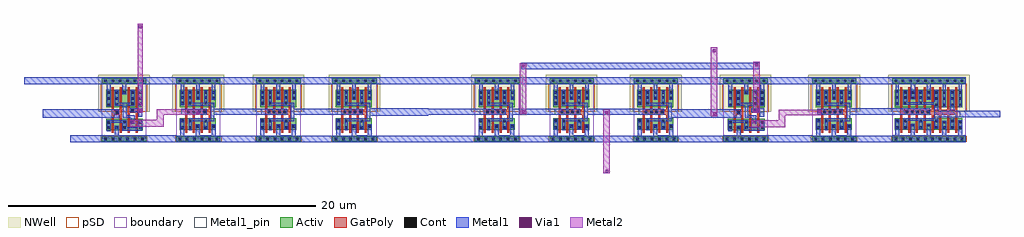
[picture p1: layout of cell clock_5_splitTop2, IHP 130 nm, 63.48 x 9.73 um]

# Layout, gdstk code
import gdstk
lib = gdstk.Library(unit=1e-6, precision=1e-09)
def R(c, l, rs):  # rectangles x0, y0, x1, y1
    for r in rs: c.add(gdstk.rectangle(r[:2], r[2:], *l))
def A(c, l, x, y, w, h, nx, ny, dx, dy):  # array of equal rectangles
    R(c, l, [(x+i*dx, y+j*dy, x+i*dx+w, y+j*dy+h) for i in range(nx) for j in range(ny)])
def P(c, l, *ps):  # polygons
    for p in ps: c.add(gdstk.Polygon(p, *l))
Activ = (1, 0)
GatPoly = (5, 0)
Cont = (6, 0)
Metal1 = (8, 0)
Metal1_pin = (8, 2)
Metal2 = (10, 0)
pSD = (14, 0)
Via1 = (19, 0)
NWell = (31, 0)
boundary = (189, 4)

clock_5_split4 = lib.new_cell('clock_5_split4')
R(clock_5_split4, Activ, [(-1.173,-1.011,1.707,-0.711), (3.666,-1.011,6.546,-0.711), (8.881,-1.011,11.761,-0.711), (13.817,-1.011,16.697,-0.711), (-0.888,-0.286,1.497,0.434), (3.911,-0.271,6.251,0.469), (9.126,-0.271,11.466,0.469), (14.062,-0.271,16.402,0.469), (-0.873,1.199,1.507,2.319), (3.911,1.199,6.251,2.319), (9.126,1.199,11.466,2.319), (14.062,1.199,16.402,2.319), (-1.173,2.769,1.707,3.069), (3.666,2.769,6.546,3.069), (8.881,2.769,11.761,3.069), (13.817,2.769,16.697,3.069)])
P(clock_5_split4, GatPoly, [(-0.513,-0.466),(-0.513,2.499),(-0.383,2.499),(-0.383,1.014),(-0.003,1.014),(-0.003,2.499),(0.127,2.499),(0.127,-0.466),(-0.003,-0.466),(-0.003,0.704),(-0.383,0.704),(-0.383,-0.466)],
  [(0.517,-0.466),(0.517,2.499),(0.647,2.499),(0.647,1.129),(1.027,1.129),(1.027,2.499),(1.157,2.499),(1.157,-0.466),(1.027,-0.466),(1.027,0.824),(0.647,0.824),(0.647,-0.466)],
  [(4.251,-0.451),(4.251,2.499),(4.381,2.499),(4.381,1.039),(4.761,1.039),(4.761,2.499),(4.891,2.499),(4.891,1.039),(5.271,1.039),(5.271,2.499),(5.401,2.499),(5.401,1.039),(5.781,1.039),(5.781,2.499),(5.911,2.499),(5.911,-0.451),(5.781,-0.451),(5.781,0.709),(5.401,0.709),(5.401,-0.451),(5.271,-0.451),(5.271,0.709),(4.891,0.709),(4.891,-0.451),(4.761,-0.451),(4.761,0.709),(4.381,0.709),(4.381,-0.451)],
  [(9.466,-0.451),(9.466,2.499),(9.596,2.499),(9.596,1.039),(9.976,1.039),(9.976,2.499),(10.106,2.499),(10.106,1.039),(10.486,1.039),(10.486,2.499),(10.616,2.499),(10.616,1.039),(10.996,1.039),(10.996,2.499),(11.126,2.499),(11.126,-0.451),(10.996,-0.451),(10.996,0.709),(10.616,0.709),(10.616,-0.451),(10.486,-0.451),(10.486,0.709),(10.106,0.709),(10.106,-0.451),(9.976,-0.451),(9.976,0.709),(9.596,0.709),(9.596,-0.451)],
  [(14.402,-0.451),(14.402,2.499),(14.532,2.499),(14.532,1.039),(14.912,1.039),(14.912,2.499),(15.042,2.499),(15.042,1.039),(15.422,1.039),(15.422,2.499),(15.552,2.499),(15.552,1.039),(15.932,1.039),(15.932,2.499),(16.062,2.499),(16.062,-0.451),(15.932,-0.451),(15.932,0.709),(15.552,0.709),(15.552,-0.451),(15.422,-0.451),(15.422,0.709),(15.042,0.709),(15.042,-0.451),(14.912,-0.451),(14.912,0.709),(14.532,0.709),(14.532,-0.451)])
A(clock_5_split4, Cont, 0.427, -0.941, 0.16, 0.16, 3, 2, 0.48, 3.78)
A(clock_5_split4, Cont, 4.401, 0.794, 0.16, 0.16, 4, 1, 0.34, 0)
A(clock_5_split4, Cont, 9.616, 0.794, 0.16, 0.16, 4, 1, 0.34, 0)
A(clock_5_split4, Cont, 14.552, 0.794, 0.16, 0.16, 4, 1, 0.34, 0)
A(clock_5_split4, Cont, -0.273, 1.289, 0.16, 0.16, 1, 3, 0, 0.4)
A(clock_5_split4, Cont, 3.981, 2.084, 0.16, 0.16, 5, 1, 0.51, 0)
A(clock_5_split4, Cont, 9.196, 2.084, 0.16, 0.16, 5, 1, 0.51, 0)
A(clock_5_split4, Cont, 14.132, 2.084, 0.16, 0.16, 5, 1, 0.51, 0)
R(clock_5_split4, Cont, [(-1.013,-0.941,-0.853,-0.781), (-1.013,-0.941,-0.853,-0.781), (-0.533,-0.941,-0.373,-0.781), (-0.533,-0.941,-0.373,-0.781), (-0.053,-0.941,0.107,-0.781), (-0.053,-0.941,0.107,-0.781), (0.427,-0.941,0.587,-0.781), (3.826,-0.941,3.986,-0.781), (3.826,-0.941,3.986,-0.781), (4.306,-0.941,4.466,-0.781), (4.306,-0.941,4.466,-0.781), (4.786,-0.941,4.946,-0.781), (4.786,-0.941,4.946,-0.781), (5.266,-0.941,5.426,-0.781), (5.266,-0.941,5.426,-0.781), (5.746,-0.941,5.906,-0.781), (5.746,-0.941,5.906,-0.781), (6.226,-0.941,6.386,-0.781), (6.226,-0.941,6.386,-0.781), (9.041,-0.941,9.201,-0.781), (9.041,-0.941,9.201,-0.781), (9.521,-0.941,9.681,-0.781), (9.521,-0.941,9.681,-0.781), (10.001,-0.941,10.161,-0.781), (10.001,-0.941,10.161,-0.781), (10.481,-0.941,10.641,-0.781), (10.481,-0.941,10.641,-0.781), (10.961,-0.941,11.121,-0.781), (10.961,-0.941,11.121,-0.781), (11.441,-0.941,11.601,-0.781), (11.441,-0.941,11.601,-0.781), (13.977,-0.941,14.137,-0.781), (13.977,-0.941,14.137,-0.781), (14.457,-0.941,14.617,-0.781), (14.457,-0.941,14.617,-0.781), (14.937,-0.941,15.097,-0.781), (14.937,-0.941,15.097,-0.781), (15.417,-0.941,15.577,-0.781), (15.417,-0.941,15.577,-0.781), (15.897,-0.941,16.057,-0.781), (15.897,-0.941,16.057,-0.781), (16.377,-0.941,16.537,-0.781), (16.377,-0.941,16.537,-0.781), (-0.273,-0.216,-0.113,-0.056), (-0.793,-0.211,-0.633,-0.051), (1.267,-0.211,1.427,-0.051), (0.237,-0.201,0.397,-0.041), (3.981,-0.196,4.141,-0.036), (4.491,-0.196,4.651,-0.036), (5.511,-0.196,5.671,-0.036), (9.196,-0.196,9.356,-0.036), (9.706,-0.196,9.866,-0.036), (10.726,-0.196,10.886,-0.036), (14.132,-0.196,14.292,-0.036), (14.642,-0.196,14.802,-0.036), (15.662,-0.196,15.822,-0.036), (5.001,-0.126,5.161,0.034), (6.021,-0.126,6.181,0.034), (10.216,-0.126,10.376,0.034), (11.236,-0.126,11.396,0.034), (15.152,-0.126,15.312,0.034), (16.172,-0.126,16.332,0.034), (-0.798,0.129,-0.638,0.289), (1.267,0.129,1.427,0.289), (0.237,0.144,0.397,0.304), (0.762,0.144,0.922,0.304), (0.757,0.189,0.917,0.349), (3.981,0.229,4.141,0.389), (4.491,0.229,4.651,0.389), (5.511,0.229,5.671,0.389), (9.196,0.229,9.356,0.389), (9.706,0.229,9.866,0.389), (10.726,0.229,10.886,0.389), (14.132,0.229,14.292,0.389), (14.642,0.229,14.802,0.389), (15.662,0.229,15.822,0.389), (-0.273,0.779,-0.113,0.939), (0.757,0.899,0.917,1.059), (-0.803,1.279,-0.643,1.439), (0.757,1.349,0.917,1.509), (1.267,1.349,1.427,1.509), (3.981,1.394,4.141,1.554), (4.491,1.394,4.651,1.554), (5.511,1.394,5.671,1.554), (9.196,1.394,9.356,1.554), (9.706,1.394,9.866,1.554), (10.726,1.394,10.886,1.554), (14.132,1.394,14.292,1.554), (14.642,1.394,14.802,1.554), (15.662,1.394,15.822,1.554), (-0.803,1.679,-0.643,1.839), (0.757,1.689,0.917,1.849), (1.267,1.689,1.427,1.849), (5.001,1.734,5.161,1.894), (6.021,1.734,6.181,1.894), (10.216,1.734,10.376,1.894), (11.236,1.734,11.396,1.894), (15.152,1.734,15.312,1.894), (16.172,1.734,16.332,1.894), (3.981,1.744,4.141,1.904), (4.491,1.744,4.651,1.904), (5.511,1.744,5.671,1.904), (9.196,1.744,9.356,1.904), (9.706,1.744,9.866,1.904), (10.726,1.744,10.886,1.904), (14.132,1.744,14.292,1.904), (14.642,1.744,14.802,1.904), (15.662,1.744,15.822,1.904), (-0.803,2.089,-0.643,2.249), (0.237,2.089,0.397,2.249), (0.757,2.089,0.917,2.249), (1.267,2.089,1.427,2.249), (-1.013,2.839,-0.853,2.999), (-1.013,2.839,-0.853,2.999), (-0.533,2.839,-0.373,2.999), (-0.533,2.839,-0.373,2.999), (-0.053,2.839,0.107,2.999), (-0.053,2.839,0.107,2.999), (0.427,2.839,0.587,2.999), (3.826,2.839,3.986,2.999), (3.826,2.839,3.986,2.999), (4.306,2.839,4.466,2.999), (4.306,2.839,4.466,2.999), (4.786,2.839,4.946,2.999), (4.786,2.839,4.946,2.999), (5.266,2.839,5.426,2.999), (5.266,2.839,5.426,2.999), (5.746,2.839,5.906,2.999), (5.746,2.839,5.906,2.999), (6.226,2.839,6.386,2.999), (6.226,2.839,6.386,2.999), (9.041,2.839,9.201,2.999), (9.041,2.839,9.201,2.999), (9.521,2.839,9.681,2.999), (9.521,2.839,9.681,2.999), (10.001,2.839,10.161,2.999), (10.001,2.839,10.161,2.999), (10.481,2.839,10.641,2.999), (10.481,2.839,10.641,2.999), (10.961,2.839,11.121,2.999), (10.961,2.839,11.121,2.999), (11.441,2.839,11.601,2.999), (11.441,2.839,11.601,2.999), (13.977,2.839,14.137,2.999), (13.977,2.839,14.137,2.999), (14.457,2.839,14.617,2.999), (14.457,2.839,14.617,2.999), (14.937,2.839,15.097,2.999), (14.937,2.839,15.097,2.999), (15.417,2.839,15.577,2.999), (15.417,2.839,15.577,2.999), (15.897,2.839,16.057,2.999), (15.897,2.839,16.057,2.999), (16.377,2.839,16.537,2.999), (16.377,2.839,16.537,2.999)])
R(clock_5_split4, Metal1_pin, [(-1.173,-1.081,1.707,-0.641), (3.666,-1.071,6.546,-0.651), (8.881,-1.071,11.761,-0.651), (13.817,-1.071,16.697,-0.651), (5.911,0.284,6.141,1.479), (11.126,0.284,11.356,1.479), (16.062,0.284,16.292,1.479), (-0.353,0.529,-0.023,1.059), (0.207,0.529,0.447,1.499), (3.991,0.709,5.666,1.089), (9.206,0.709,10.881,1.089), (14.142,0.709,15.817,1.089), (0.642,0.869,1.472,1.119), (-1.173,2.699,1.707,3.139), (3.666,2.699,6.546,3.139), (8.881,2.699,11.761,3.139), (13.817,2.699,16.697,3.139)])
R(clock_5_split4, Metal2, [(1.17,0.837,1.495,6.631)])
P(clock_5_split4, Metal2, [(0.64,-0.071),(0.64,0.38),(2.413,0.38),(2.413,1.065),(5.196,1.065),(5.196,0.693),(2.844,0.693),(2.844,-0.071)])
R(clock_5_split4, pSD, [(-1.243,-1.041,1.777,-0.681), (3.596,-1.041,6.616,-0.681), (8.811,-1.041,11.831,-0.681), (13.747,-1.041,16.767,-0.681), (-1.243,0.899,1.777,2.739), (3.596,0.899,6.616,2.739), (8.811,0.899,11.831,2.739), (13.747,0.899,16.767,2.739)])
R(clock_5_split4, Via1, [(0.746,0.163,0.936,0.353), (4.975,0.753,5.165,0.943), (1.241,0.895,1.431,1.085), (1.241,6.344,1.431,6.534)])
R(clock_5_split4, NWell, [(-1.413,0.889,1.947,3.309), (3.426,0.889,6.786,3.309), (8.641,0.889,12.001,3.309), (13.577,0.889,16.937,3.309)])
R(clock_5_split4, boundary, [(-1.173,-0.861,1.707,2.919), (3.666,-0.861,6.546,2.919), (8.881,-0.861,11.761,2.919), (13.817,-0.861,16.697,2.919)])
clock_5_split4.add(gdstk.Label('Y', (0.307,1.244), layer=8, texttype=25))
clock_5_split4.add(gdstk.Label('VDD', (-0.203,2.919), layer=8, texttype=25))
clock_5_split4.add(gdstk.Label('A', (0.837,0.979), layer=8, texttype=25))
clock_5_split4.add(gdstk.Label('VSS', (-0.663,-0.861), layer=8, texttype=25))
clock_5_split4.add(gdstk.Label('B', (-0.193,0.794), layer=8, texttype=25))
clock_5_split4.add(gdstk.Label('A', (4.786,0.899), layer=8, texttype=25))
clock_5_split4.add(gdstk.Label('VDD', (5.591,2.939), layer=8, texttype=25))
clock_5_split4.add(gdstk.Label('Y', (6.026,0.894), layer=8, texttype=25))
clock_5_split4.add(gdstk.Label('VSS', (5.071,-0.856), layer=8, texttype=25))
clock_5_split4.add(gdstk.Label('A', (10.001,0.899), layer=8, texttype=25))
clock_5_split4.add(gdstk.Label('VDD', (10.806,2.939), layer=8, texttype=25))
clock_5_split4.add(gdstk.Label('Y', (11.241,0.894), layer=8, texttype=25))
clock_5_split4.add(gdstk.Label('VSS', (10.286,-0.856), layer=8, texttype=25))
clock_5_split4.add(gdstk.Label('A', (14.937,0.899), layer=8, texttype=25))
clock_5_split4.add(gdstk.Label('VDD', (15.742,2.939), layer=8, texttype=25))
clock_5_split4.add(gdstk.Label('Y', (16.177,0.894), layer=8, texttype=25))
clock_5_split4.add(gdstk.Label('VSS', (15.222,-0.856), layer=8, texttype=25))
clock_5_split4.add(gdstk.Label('inv_bottom', (18.185,0.83), layer=8, texttype=1))
clock_5_split4.add(gdstk.Label('nand_B2', (-3.331,0.714), layer=8, texttype=1))
clock_5_split4.add(gdstk.Label('nand_A2', (1.301,3.793), layer=10, texttype=1))

clock_5_split2 = lib.new_cell('clock_5_split2')
R(clock_5_split2, Activ, [(0,-0.15,2.88,0.15), (4.857,-0.15,7.737,0.15), (10.326,-0.15,13.206,0.15), (16.171,-0.15,19.051,0.15), (21.93,-0.15,24.81,0.15), (27.136,-0.15,31.936,0.15), (16.456,0.575,18.841,1.295), (0.245,0.59,2.585,1.33), (5.102,0.59,7.442,1.33), (10.571,0.59,12.911,1.33), (22.175,0.59,24.515,1.33), (27.321,0.59,31.711,1.33), (0.245,2.06,2.585,3.18), (5.102,2.06,7.442,3.18), (10.571,2.06,12.911,3.18), (16.471,2.06,18.851,3.18), (22.175,2.06,24.515,3.18), (27.321,2.06,31.711,3.18), (0,3.63,2.88,3.93), (4.857,3.63,7.737,3.93), (10.326,3.63,13.206,3.93), (16.171,3.63,19.051,3.93), (21.93,3.63,24.81,3.93), (27.136,3.63,31.936,3.93)])
P(clock_5_split2, GatPoly, [(27.661,0.41),(27.661,3.36),(27.791,3.36),(27.791,1.9),(28.171,1.9),(28.171,3.36),(28.301,3.36),(28.301,1.9),(28.681,1.9),(28.681,3.36),(28.811,3.36),(28.811,1.9),(29.191,1.9),(29.191,3.36),(29.321,3.36),(29.321,1.9),(29.701,1.9),(29.701,3.36),(29.831,3.36),(29.831,1.9),(30.211,1.9),(30.211,3.36),(30.341,3.36),(30.341,1.9),(30.721,1.9),(30.721,3.36),(30.851,3.36),(30.851,1.9),(31.241,1.9),(31.241,3.36),(31.371,3.36),(31.371,0.41),(31.241,0.41),(31.241,1.57),(30.851,1.57),(30.851,0.41),(30.721,0.41),(30.721,1.57),(30.341,1.57),(30.341,0.41),(30.211,0.41),(30.211,1.57),(29.831,1.57),(29.831,0.41),(29.701,0.41),(29.701,1.57),(29.321,1.57),(29.321,0.41),(29.191,0.41),(29.191,1.57),(28.811,1.57),(28.811,0.41),(28.681,0.41),(28.681,1.57),(28.301,1.57),(28.301,0.41),(28.171,0.41),(28.171,1.57),(27.791,1.57),(27.791,0.41)],
  [(17.861,0.395),(17.861,3.36),(17.991,3.36),(17.991,1.99),(18.371,1.99),(18.371,3.36),(18.501,3.36),(18.501,0.395),(18.371,0.395),(18.371,1.685),(17.991,1.685),(17.991,0.395)],
  [(16.831,0.395),(16.831,3.36),(16.961,3.36),(16.961,1.875),(17.341,1.875),(17.341,3.36),(17.471,3.36),(17.471,0.395),(17.341,0.395),(17.341,1.565),(16.961,1.565),(16.961,0.395)],
  [(0.585,0.41),(0.585,3.36),(0.715,3.36),(0.715,1.9),(1.095,1.9),(1.095,3.36),(1.225,3.36),(1.225,1.9),(1.605,1.9),(1.605,3.36),(1.735,3.36),(1.735,1.9),(2.115,1.9),(2.115,3.36),(2.245,3.36),(2.245,0.41),(2.115,0.41),(2.115,1.57),(1.735,1.57),(1.735,0.41),(1.605,0.41),(1.605,1.57),(1.225,1.57),(1.225,0.41),(1.095,0.41),(1.095,1.57),(0.715,1.57),(0.715,0.41)],
  [(5.442,0.41),(5.442,3.36),(5.572,3.36),(5.572,1.9),(5.952,1.9),(5.952,3.36),(6.082,3.36),(6.082,1.9),(6.462,1.9),(6.462,3.36),(6.592,3.36),(6.592,1.9),(6.972,1.9),(6.972,3.36),(7.102,3.36),(7.102,0.41),(6.972,0.41),(6.972,1.57),(6.592,1.57),(6.592,0.41),(6.462,0.41),(6.462,1.57),(6.082,1.57),(6.082,0.41),(5.952,0.41),(5.952,1.57),(5.572,1.57),(5.572,0.41)],
  [(10.911,0.41),(10.911,3.36),(11.041,3.36),(11.041,1.9),(11.421,1.9),(11.421,3.36),(11.551,3.36),(11.551,1.9),(11.931,1.9),(11.931,3.36),(12.061,3.36),(12.061,1.9),(12.441,1.9),(12.441,3.36),(12.571,3.36),(12.571,0.41),(12.441,0.41),(12.441,1.57),(12.061,1.57),(12.061,0.41),(11.931,0.41),(11.931,1.57),(11.551,1.57),(11.551,0.41),(11.421,0.41),(11.421,1.57),(11.041,1.57),(11.041,0.41)],
  [(22.515,0.41),(22.515,3.36),(22.645,3.36),(22.645,1.9),(23.025,1.9),(23.025,3.36),(23.155,3.36),(23.155,1.9),(23.535,1.9),(23.535,3.36),(23.665,3.36),(23.665,1.9),(24.045,1.9),(24.045,3.36),(24.175,3.36),(24.175,0.41),(24.045,0.41),(24.045,1.57),(23.665,1.57),(23.665,0.41),(23.535,0.41),(23.535,1.57),(23.155,1.57),(23.155,0.41),(23.025,0.41),(23.025,1.57),(22.645,1.57),(22.645,0.41)])
A(clock_5_split2, Cont, 0.16, -0.08, 0.16, 0.16, 6, 2, 0.48, 3.78)
A(clock_5_split2, Cont, 5.017, -0.08, 0.16, 0.16, 6, 2, 0.48, 3.78)
A(clock_5_split2, Cont, 10.486, -0.08, 0.16, 0.16, 6, 2, 0.48, 3.78)
A(clock_5_split2, Cont, 16.331, -0.08, 0.16, 0.16, 6, 2, 0.48, 3.78)
A(clock_5_split2, Cont, 22.09, -0.08, 0.16, 0.16, 6, 2, 0.48, 3.78)
A(clock_5_split2, Cont, 27.296, -0.08, 0.16, 0.16, 10, 2, 0.48, 3.78)
A(clock_5_split2, Cont, 27.901, 1.08, 0.16, 0.16, 4, 1, 1.02, 0)
A(clock_5_split2, Cont, 0.735, 1.655, 0.16, 0.16, 4, 1, 0.34, 0)
A(clock_5_split2, Cont, 5.592, 1.655, 0.16, 0.16, 4, 1, 0.34, 0)
A(clock_5_split2, Cont, 11.061, 1.655, 0.16, 0.16, 4, 1, 0.34, 0)
A(clock_5_split2, Cont, 22.665, 1.655, 0.16, 0.16, 4, 1, 0.34, 0)
A(clock_5_split2, Cont, 28.026, 1.655, 0.16, 0.16, 5, 1, 0.34, 0)
A(clock_5_split2, Cont, 29.941, 2.14, 0.16, 0.16, 3, 2, 0.51, 0.4)
A(clock_5_split2, Cont, 17.071, 2.15, 0.16, 0.16, 1, 3, 0, 0.4)
A(clock_5_split2, Cont, 0.315, 2.945, 0.16, 0.16, 5, 1, 0.51, 0)
A(clock_5_split2, Cont, 5.172, 2.945, 0.16, 0.16, 5, 1, 0.51, 0)
A(clock_5_split2, Cont, 10.641, 2.945, 0.16, 0.16, 5, 1, 0.51, 0)
A(clock_5_split2, Cont, 22.245, 2.945, 0.16, 0.16, 5, 1, 0.51, 0)
A(clock_5_split2, Cont, 27.901, 2.945, 0.16, 0.16, 7, 1, 0.51, 0)
R(clock_5_split2, Cont, [(17.071,0.645,17.231,0.805), (16.551,0.65,16.711,0.81), (18.611,0.65,18.771,0.81), (17.581,0.66,17.741,0.82), (0.315,0.665,0.475,0.825), (0.825,0.665,0.985,0.825), (1.845,0.665,2.005,0.825), (5.172,0.665,5.332,0.825), (5.682,0.665,5.842,0.825), (6.702,0.665,6.862,0.825), (10.641,0.665,10.801,0.825), (11.151,0.665,11.311,0.825), (12.171,0.665,12.331,0.825), (22.245,0.665,22.405,0.825), (22.755,0.665,22.915,0.825), (23.775,0.665,23.935,0.825), (30.451,0.665,30.611,0.825), (27.391,0.67,27.551,0.83), (27.901,0.67,28.061,0.83), (28.921,0.67,29.081,0.83), (30.961,0.67,31.121,0.83), (31.481,0.67,31.641,0.83), (29.941,0.675,30.101,0.835), (1.335,0.735,1.495,0.895), (2.355,0.735,2.515,0.895), (6.192,0.735,6.352,0.895), (7.212,0.735,7.372,0.895), (11.661,0.735,11.821,0.895), (12.681,0.735,12.841,0.895), (23.265,0.735,23.425,0.895), (24.285,0.735,24.445,0.895), (28.411,0.815,28.571,0.975), (29.431,0.815,29.591,0.975), (16.546,0.99,16.706,1.15), (18.611,0.99,18.771,1.15), (17.581,1.005,17.741,1.165), (30.451,1.015,30.611,1.175), (31.481,1.025,31.641,1.185), (18.101,1.05,18.261,1.21), (27.391,1.08,27.551,1.24), (0.315,1.09,0.475,1.25), (0.825,1.09,0.985,1.25), (1.845,1.09,2.005,1.25), (5.172,1.09,5.332,1.25), (5.682,1.09,5.842,1.25), (6.702,1.09,6.862,1.25), (10.641,1.09,10.801,1.25), (11.151,1.09,11.311,1.25), (12.171,1.09,12.331,1.25), (22.245,1.09,22.405,1.25), (22.755,1.09,22.915,1.25), (23.775,1.09,23.935,1.25), (17.071,1.64,17.231,1.8), (18.101,1.76,18.261,1.92), (16.541,2.14,16.701,2.3), (31.481,2.14,31.641,2.3), (27.391,2.207,27.551,2.367), (18.101,2.21,18.261,2.37), (18.611,2.21,18.771,2.37), (0.315,2.255,0.475,2.415), (0.825,2.255,0.985,2.415), (1.845,2.255,2.005,2.415), (5.172,2.255,5.332,2.415), (5.682,2.255,5.842,2.415), (6.702,2.255,6.862,2.415), (10.641,2.255,10.801,2.415), (11.151,2.255,11.311,2.415), (12.171,2.255,12.331,2.415), (22.245,2.255,22.405,2.415), (22.755,2.255,22.915,2.415), (23.775,2.255,23.935,2.415), (27.901,2.255,28.061,2.415), (28.921,2.255,29.081,2.415), (16.541,2.54,16.701,2.7), (31.481,2.54,31.641,2.7), (18.101,2.55,18.261,2.71), (18.611,2.55,18.771,2.71), (1.335,2.595,1.495,2.755), (2.355,2.595,2.515,2.755), (6.192,2.595,6.352,2.755), (7.212,2.595,7.372,2.755), (11.661,2.595,11.821,2.755), (12.681,2.595,12.841,2.755), (23.265,2.595,23.425,2.755), (24.285,2.595,24.445,2.755), (28.411,2.595,28.571,2.755), (29.431,2.595,29.591,2.755), (0.315,2.605,0.475,2.765), (0.825,2.605,0.985,2.765), (1.845,2.605,2.005,2.765), (5.172,2.605,5.332,2.765), (5.682,2.605,5.842,2.765), (6.702,2.605,6.862,2.765), (10.641,2.605,10.801,2.765), (11.151,2.605,11.311,2.765), (12.171,2.605,12.331,2.765), (22.245,2.605,22.405,2.765), (22.755,2.605,22.915,2.765), (23.775,2.605,23.935,2.765), (27.901,2.605,28.061,2.765), (28.921,2.605,29.081,2.765), (27.391,2.607,27.551,2.767), (31.481,2.945,31.641,3.105), (16.541,2.95,16.701,3.11), (17.581,2.95,17.741,3.11), (18.101,2.95,18.261,3.11), (18.611,2.95,18.771,3.11), (27.391,3.012,27.551,3.172)])
R(clock_5_split2, Metal1_pin, [(16.171,-0.22,19.051,0.22), (27.136,-0.22,31.936,0.22), (0,-0.21,2.88,0.21), (4.857,-0.21,7.737,0.21), (10.326,-0.21,13.206,0.21), (21.93,-0.21,24.81,0.21), (2.245,1.145,2.475,2.34), (7.102,1.145,7.332,2.34), (12.571,1.145,12.801,2.34), (24.175,1.145,24.405,2.34), (16.991,1.39,17.321,1.92), (17.551,1.39,17.791,2.36), (29.876,1.42,31.576,1.84), (0.325,1.57,2,1.95), (5.182,1.57,6.857,1.95), (10.651,1.57,12.326,1.95), (22.255,1.57,23.93,1.95), (27.941,1.57,29.631,2), (17.986,1.73,18.816,1.98), (0,3.56,2.88,4), (4.857,3.56,7.737,4), (10.326,3.56,13.206,4), (16.171,3.56,19.051,4), (21.93,3.56,24.81,4), (27.136,3.56,31.936,4)])
R(clock_5_split2, Metal2, [(8.347,-2.24,8.767,1.922), (15.357,1.474,15.777,5.968), (2.917,1.615,3.337,4.915), (18.11,1.702,18.53,5.002)])
P(clock_5_split2, Metal2, [(17.979,0.772),(17.979,1.223),(19.752,1.223),(19.752,1.908),(22.535,1.908),(22.535,1.536),(20.183,1.536),(20.183,0.772)])
R(clock_5_split2, pSD, [(-0.07,-0.18,2.95,0.18), (4.787,-0.18,7.807,0.18), (10.256,-0.18,13.276,0.18), (16.101,-0.18,19.121,0.18), (21.86,-0.18,24.88,0.18), (27.066,-0.18,32.006,0.18), (-0.07,1.76,2.95,3.6), (4.787,1.76,7.807,3.6), (10.256,1.76,13.276,3.6), (16.101,1.76,19.121,3.6), (21.86,1.76,24.88,3.6), (27.066,1.76,32.006,3.6)])
R(clock_5_split2, Via1, [(8.501,-2.187,8.691,-1.997), (18.091,1.004,18.281,1.194), (15.511,1.527,15.701,1.717), (8.472,1.613,8.662,1.803), (22.314,1.659,22.504,1.849), (3.049,1.668,3.239,1.858), (18.242,1.755,18.432,1.945), (3.049,4.645,3.239,4.835), (18.242,4.732,18.432,4.922), (15.47,5.634,15.66,5.824)])
R(clock_5_split2, NWell, [(-0.24,1.75,3.12,4.17), (4.617,1.75,7.977,4.17), (10.086,1.75,13.446,4.17), (15.931,1.75,19.291,4.17), (21.69,1.75,25.05,4.17), (26.896,1.75,32.176,4.17)])
R(clock_5_split2, boundary, [(0,0,2.88,3.78), (4.857,0,7.737,3.78), (10.326,0,13.206,3.78), (16.171,0,19.051,3.78), (21.93,0,24.81,3.78), (27.136,0,31.936,3.78)])
clock_5_split2.add(gdstk.Label('VSS', (29.446,-0.02), layer=8, texttype=25))
clock_5_split2.add(gdstk.Label('VSS', (16.681,0), layer=8, texttype=25))
clock_5_split2.add(gdstk.Label('VSS', (1.405,0.005), layer=8, texttype=25))
clock_5_split2.add(gdstk.Label('VSS', (6.262,0.005), layer=8, texttype=25))
clock_5_split2.add(gdstk.Label('VSS', (11.731,0.005), layer=8, texttype=25))
clock_5_split2.add(gdstk.Label('VSS', (23.335,0.005), layer=8, texttype=25))
clock_5_split2.add(gdstk.Label('B', (17.151,1.655), layer=8, texttype=25))
clock_5_split2.add(gdstk.Label('Y', (30.786,1.64), layer=8, texttype=25))
clock_5_split2.add(gdstk.Label('Y', (2.36,1.755), layer=8, texttype=25))
clock_5_split2.add(gdstk.Label('Y', (7.217,1.755), layer=8, texttype=25))
clock_5_split2.add(gdstk.Label('Y', (12.686,1.755), layer=8, texttype=25))
clock_5_split2.add(gdstk.Label('Y', (24.29,1.755), layer=8, texttype=25))
clock_5_split2.add(gdstk.Label('Y', (17.651,2.105), layer=8, texttype=25))
clock_5_split2.add(gdstk.Label('VDD', (17.141,3.78), layer=8, texttype=25))
clock_5_split2.add(gdstk.Label('VDD', (29.846,3.78), layer=8, texttype=25))
clock_5_split2.add(gdstk.Label('VDD', (1.925,3.8), layer=8, texttype=25))
clock_5_split2.add(gdstk.Label('VDD', (6.782,3.8), layer=8, texttype=25))
clock_5_split2.add(gdstk.Label('VDD', (12.251,3.8), layer=8, texttype=25))
clock_5_split2.add(gdstk.Label('VDD', (23.855,3.8), layer=8, texttype=25))
clock_5_split2.add(gdstk.Label('A', (1.12,1.76), layer=8, texttype=25))
clock_5_split2.add(gdstk.Label('A', (5.977,1.76), layer=8, texttype=25))
clock_5_split2.add(gdstk.Label('A', (11.446,1.76), layer=8, texttype=25))
clock_5_split2.add(gdstk.Label('A', (23.05,1.76), layer=8, texttype=25))
clock_5_split2.add(gdstk.Label('A', (28.781,1.785), layer=8, texttype=25))
clock_5_split2.add(gdstk.Label('A', (18.181,1.84), layer=8, texttype=25))
clock_5_split2.add(gdstk.Label('inv_bottom', (-2.829,1.777), layer=8, texttype=1))
clock_5_split2.add(gdstk.Label('p2', (33.832,1.605), layer=8, texttype=1))
clock_5_split2.add(gdstk.Label('nand_B1', (15.449,5.317), layer=10, texttype=1))
clock_5_split2.add(gdstk.Label('p2e', (8.612,-1.9), layer=10, texttype=1))

clock_5_splittop2 = lib.new_cell('clock_5_splitTop2')
R(clock_5_splittop2, Metal1, [(-5.497,-0.093,-0.511,0.437), (3.503,0.087,5.178,0.467), (44.859,0.087,46.534,0.467), (25.609,3.059,41.147,3.472)])
P(clock_5_splittop2, Metal1, [(-1.336,-0.983),(-1.336,-0.283),(-0.041,-0.283),(-0.041,-0.723),(0.709,-0.723),(0.709,-0.283),(0.989,-0.283),(0.989,-0.953),(-0.311,-0.953),(-0.311,-0.448),(-1.076,-0.448),(-1.076,-0.983)],
  [(39.1,-0.983),(39.1,-0.283),(40.395,-0.283),(40.395,-0.723),(41.145,-0.723),(41.145,-0.283),(41.425,-0.283),(41.425,-0.953),(40.125,-0.953),(40.125,-0.448),(39.36,-0.448),(39.36,-0.983)],
  [(-3.71,-1.703),(-3.71,-1.263),(-0.811,-1.263),(-0.811,-0.628),(-0.551,-0.628),(-0.551,-1.263),(3.221,-1.263),(3.221,-1.273),(3.448,-1.273),(3.448,-0.158),(3.698,-0.158),(3.698,-1.273),(4.458,-1.273),(4.458,-0.538),(4.728,-0.538),(4.728,-1.263),(5.483,-1.263),(5.483,-0.533),(5.743,-0.533),(5.743,-1.273),(8.663,-1.273),(8.663,-0.158),(8.913,-0.158),(8.913,-1.273),(9.673,-1.273),(9.673,-0.538),(9.943,-0.538),(9.943,-1.263),(10.698,-1.263),(10.698,-0.533),(10.958,-0.533),(10.958,-1.273),(13.599,-1.273),(13.599,-0.158),(13.849,-0.158),(13.849,-1.273),(14.609,-1.273),(14.609,-0.538),(14.879,-0.538),(14.879,-1.263),(15.634,-1.263),(15.634,-0.533),(15.894,-0.533),(15.894,-1.273),(22.874,-1.273),(22.874,-0.158),(23.124,-0.158),(23.124,-1.273),(23.884,-1.273),(23.884,-0.538),(24.154,-0.538),(24.154,-1.263),(24.909,-1.263),(24.909,-0.533),(25.169,-0.533),(25.169,-1.273),(27.731,-1.273),(27.731,-0.158),(27.981,-0.158),(27.981,-1.273),(28.741,-1.273),(28.741,-0.538),(29.011,-0.538),(29.011,-1.263),(29.766,-1.263),(29.766,-0.533),(30.026,-0.533),(30.026,-1.273),(33.2,-1.273),(33.2,-0.158),(33.45,-0.158),(33.45,-1.273),(34.21,-1.273),(34.21,-0.538),(34.48,-0.538),(34.48,-1.263),(35.235,-1.263),(35.235,-0.533),(35.495,-0.533),(35.495,-1.273),(38.775,-1.273),(38.775,-1.263),(39.625,-1.263),(39.625,-0.628),(39.885,-0.628),(39.885,-1.263),(44.575,-1.263),(44.575,-1.273),(44.804,-1.273),(44.804,-0.158),(45.054,-0.158),(45.054,-1.273),(45.814,-1.273),(45.814,-0.538),(46.084,-0.538),(46.084,-1.263),(46.839,-1.263),(46.839,-0.533),(47.099,-0.533),(47.099,-1.273),(49.74,-1.273),(49.74,-1.263),(49.945,-1.263),(49.945,-0.213),(50.205,-0.213),(50.205,-1.263),(50.965,-1.263),(50.965,-0.483),(51.225,-0.483),(51.225,-1.263),(51.985,-1.263),(51.985,-0.493),(52.245,-0.493),(52.245,-1.263),(53.005,-1.263),(53.005,-0.288),(53.265,-0.288),(53.265,-1.263),(54.035,-1.263),(54.035,-0.258),(54.295,-0.258),(54.295,-1.263),(54.54,-1.263),(54.54,-1.703),(49.74,-1.703),(49.74,-1.693),(44.575,-1.693),(44.575,-1.703),(38.775,-1.703),(38.775,-1.693),(3.221,-1.693),(3.221,-1.703)],
  [(0.709,-0.043),(0.709,0.247),(0.154,0.247),(0.154,0.497),(0.984,0.497),(0.984,-0.043)],
  [(41.145,-0.043),(41.145,0.247),(40.59,0.247),(40.59,0.497),(41.42,0.497),(41.42,-0.043)],
  [(0.219,-0.483),(0.219,-0.093),(-0.281,-0.093),(-0.281,0.657),(-0.821,0.657),(-0.821,1.697),(-0.561,1.697),(-0.561,0.877),(0.229,0.877),(0.229,1.697),(0.489,1.697),(0.489,0.677),(-0.041,0.677),(-0.041,0.067),(0.479,0.067),(0.479,-0.483)],
  [(3.993,-0.913),(3.993,-0.143),(5.423,-0.143),(5.423,0.687),(3.978,0.687),(3.978,1.697),(4.193,1.697),(4.193,0.857),(4.993,0.857),(4.993,1.692),(5.208,1.692),(5.208,0.857),(5.653,0.857),(5.653,0.467),(10.393,0.467),(10.393,0.087),(5.653,0.087),(5.653,-0.338),(5.238,-0.338),(5.238,-0.888),(4.983,-0.888),(4.983,-0.338),(4.188,-0.338),(4.188,-0.913)],
  [(9.208,-0.913),(9.208,-0.143),(10.638,-0.143),(10.638,0.687),(9.193,0.687),(9.193,1.697),(9.408,1.697),(9.408,0.857),(10.208,0.857),(10.208,1.692),(10.423,1.692),(10.423,0.857),(10.868,0.857),(10.868,0.467),(15.329,0.467),(15.329,0.087),(10.868,0.087),(10.868,-0.338),(10.453,-0.338),(10.453,-0.888),(10.198,-0.888),(10.198,-0.338),(9.403,-0.338),(9.403,-0.913)],
  [(14.144,-0.913),(14.144,-0.143),(15.574,-0.143),(15.574,0.687),(14.129,0.687),(14.129,1.697),(14.344,1.697),(14.344,0.857),(15.144,0.857),(15.144,1.692),(15.359,1.692),(15.359,0.857),(15.804,0.857),(15.804,0.508),(19.585,0.508),(19.585,0.467),(24.604,0.467),(24.604,0.087),(19.585,0.087),(19.585,0.022),(15.804,0.022),(15.804,-0.338),(15.389,-0.338),(15.389,-0.888),(15.134,-0.888),(15.134,-0.338),(14.339,-0.338),(14.339,-0.913)],
  [(23.419,-0.913),(23.419,-0.143),(24.849,-0.143),(24.849,0.687),(23.404,0.687),(23.404,1.697),(23.619,1.697),(23.619,0.857),(24.419,0.857),(24.419,1.692),(24.634,1.692),(24.634,0.857),(25.079,0.857),(25.079,0.467),(29.461,0.467),(29.461,0.087),(25.079,0.087),(25.079,-0.338),(24.664,-0.338),(24.664,-0.888),(24.409,-0.888),(24.409,-0.338),(23.614,-0.338),(23.614,-0.913)],
  [(28.276,-0.913),(28.276,-0.143),(29.706,-0.143),(29.706,0.687),(28.261,0.687),(28.261,1.697),(28.476,1.697),(28.476,0.857),(29.276,0.857),(29.276,1.692),(29.491,1.692),(29.491,0.857),(29.936,0.857),(29.936,0.467),(34.93,0.467),(34.93,0.087),(29.936,0.087),(29.936,-0.338),(29.521,-0.338),(29.521,-0.888),(29.266,-0.888),(29.266,-0.338),(28.471,-0.338),(28.471,-0.913)],
  [(33.745,-0.913),(33.745,-0.143),(35.175,-0.143),(35.175,0.687),(33.73,0.687),(33.73,1.697),(33.945,1.697),(33.945,0.857),(34.745,0.857),(34.745,1.692),(34.96,1.692),(34.96,0.857),(35.405,0.857),(35.405,0.437),(39.925,0.437),(39.925,-0.093),(35.405,-0.093),(35.405,-0.338),(34.99,-0.338),(34.99,-0.888),(34.735,-0.888),(34.735,-0.338),(33.94,-0.338),(33.94,-0.913)],
  [(40.655,-0.483),(40.655,-0.093),(40.155,-0.093),(40.155,0.657),(39.615,0.657),(39.615,1.697),(39.875,1.697),(39.875,0.877),(40.665,0.877),(40.665,1.697),(40.925,1.697),(40.925,0.677),(40.395,0.677),(40.395,0.067),(40.915,0.067),(40.915,-0.483)],
  [(45.349,-0.913),(45.349,-0.143),(46.779,-0.143),(46.779,0.687),(45.334,0.687),(45.334,1.697),(45.549,1.697),(45.549,0.857),(46.349,0.857),(46.349,1.692),(46.564,1.692),(46.564,0.857),(47.009,0.857),(47.009,0.517),(52.235,0.517),(52.235,0.087),(47.009,0.087),(47.009,-0.338),(46.594,-0.338),(46.594,-0.888),(46.339,-0.888),(46.339,-0.338),(45.544,-0.338),(45.544,-0.913)],
  [(50.455,-0.863),(50.455,-0.138),(52.48,-0.138),(52.48,0.737),(50.455,0.737),(50.455,1.677),(50.72,1.677),(50.72,0.902),(51.47,0.902),(51.47,1.672),(51.735,1.672),(51.735,0.897),(52.48,0.897),(52.48,1.717),(52.755,1.717),(52.755,0.357),(53.515,0.357),(53.515,1.707),(53.775,1.707),(53.775,0.357),(56.758,0.357),(56.758,-0.063),(53.775,-0.063),(53.775,-0.843),(53.515,-0.843),(53.515,-0.063),(52.755,-0.063),(52.755,-0.818),(52.495,-0.818),(52.495,-0.303),(51.74,-0.303),(51.74,-0.848),(51.475,-0.848),(51.475,-0.303),(50.72,-0.303),(50.72,-0.863)],
  [(53.03,0.572),(53.03,2.077),(52.255,2.077),(52.255,1.077),(51.985,1.077),(51.985,2.077),(51.235,2.077),(51.235,1.082),(50.955,1.082),(50.955,2.077),(50.175,2.077),(50.175,0.702),(49.98,0.702),(49.98,2.077),(47.084,2.077),(47.084,1.057),(46.854,1.057),(46.854,2.077),(46.074,2.077),(46.074,1.047),(45.834,1.047),(45.834,2.077),(45.064,2.077),(45.064,0.707),(44.819,0.707),(44.819,2.077),(41.425,2.077),(41.425,0.677),(41.165,0.677),(41.165,2.077),(40.385,2.077),(40.385,1.417),(40.125,1.417),(40.125,2.077),(39.355,2.077),(39.355,0.642),(39.095,0.642),(39.095,2.077),(35.48,2.077),(35.48,1.057),(35.25,1.057),(35.25,2.077),(34.47,2.077),(34.47,1.047),(34.23,1.047),(34.23,2.077),(33.46,2.077),(33.46,0.707),(33.215,0.707),(33.215,2.077),(30.011,2.077),(30.011,1.057),(29.781,1.057),(29.781,2.077),(29.001,2.077),(29.001,1.047),(28.761,1.047),(28.761,2.077),(27.991,2.077),(27.991,0.707),(27.746,0.707),(27.746,2.077),(25.154,2.077),(25.154,1.057),(24.924,1.057),(24.924,2.077),(24.144,2.077),(24.144,1.047),(23.904,1.047),(23.904,2.077),(23.134,2.077),(23.134,0.707),(22.889,0.707),(22.889,2.077),(15.879,2.077),(15.879,1.057),(15.649,1.057),(15.649,2.077),(14.869,2.077),(14.869,1.047),(14.629,1.047),(14.629,2.077),(13.859,2.077),(13.859,0.707),(13.614,0.707),(13.614,2.077),(10.943,2.077),(10.943,1.057),(10.713,1.057),(10.713,2.077),(9.933,2.077),(9.933,1.047),(9.693,1.047),(9.693,2.077),(8.923,2.077),(8.923,0.707),(8.678,0.707),(8.678,2.077),(5.728,2.077),(5.728,1.057),(5.498,1.057),(5.498,2.077),(4.718,2.077),(4.718,1.047),(4.478,1.047),(4.478,2.077),(3.708,2.077),(3.708,0.707),(3.463,0.707),(3.463,2.077),(0.989,2.077),(0.989,0.677),(0.729,0.677),(0.729,2.077),(-0.051,2.077),(-0.051,1.417),(-0.311,1.417),(-0.311,2.077),(-1.081,2.077),(-1.081,0.642),(-1.341,0.642),(-1.341,2.077),(-6.717,2.077),(-6.717,2.517),(54.54,2.517),(54.54,2.077),(54.27,2.077),(54.27,0.582),(54.06,0.582),(54.06,2.077),(53.24,2.077),(53.24,0.572)])
clock_5_splittop2.add(gdstk.Reference(clock_5_split4, (-0.488,-0.622)))
clock_5_splittop2.add(gdstk.Reference(clock_5_split2, (22.604,-1.483)))

lib.write_gds('clock_5_splitTop2.gds')
